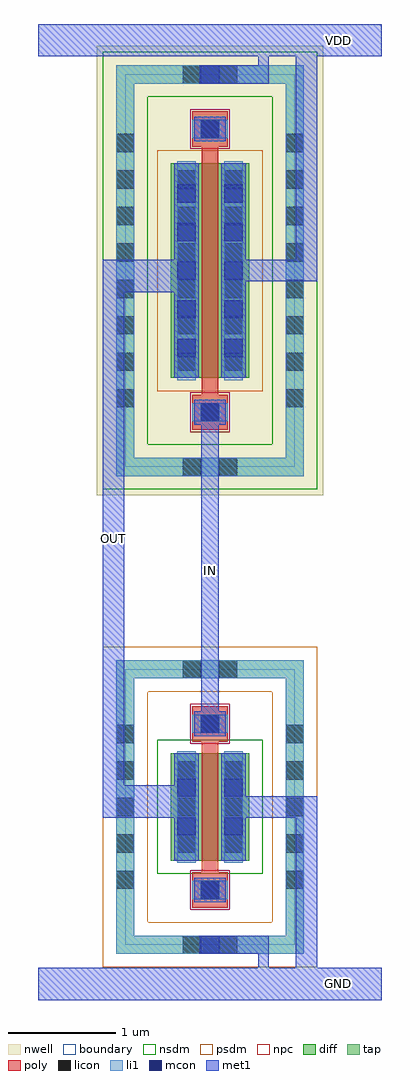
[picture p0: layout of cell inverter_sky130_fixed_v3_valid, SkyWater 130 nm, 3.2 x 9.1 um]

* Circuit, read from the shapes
.subckt inverter_sky130_fixed_v3_valid GND IN OUT VDD
XM1 GND IN OUT GND sky130_fd_pr__nfet_01v8 w=1 l=0.15
XM2 VDD IN OUT VDD sky130_fd_pr__pfet_01v8 w=2 l=0.15
.ends

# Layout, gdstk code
import gdstk
lib = gdstk.Library(unit=1e-6, precision=1e-09)
def R(c, l, rs):  # rectangles x0, y0, x1, y1
    for r in rs: c.add(gdstk.rectangle(r[:2], r[2:], *l))
def A(c, l, x, y, w, h, nx, ny, dx, dy):  # array of equal rectangles
    R(c, l, [(x+i*dx, y+j*dy, x+i*dx+w, y+j*dy+h) for i in range(nx) for j in range(ny)])
nwell = (64, 20)
diff = (65, 20)
tap = (65, 44)
poly = (66, 20)
licon = (66, 44)
li1 = (67, 20)
mcon = (67, 44)
met1 = (68, 20)
nsdm = (93, 44)
psdm = (94, 20)
npc = (95, 20)
boundary = (235, 4)

sky130_fd_pr__pfet_01v8_ = lib.new_cell('sky130_fd_pr__pfet_01v8_VJT448')
R(sky130_fd_pr__pfet_01v8_, nwell, [(-1.055,-2.095,1.055,2.095)])
R(sky130_fd_pr__pfet_01v8_, diff, [(-0.365,-1,0.365,1)])
R(sky130_fd_pr__pfet_01v8_, tap, [(-0.875,-1.915,0.875,-1.745), (-0.875,-1.745,-0.705,1.745), (0.705,-1.745,0.875,1.745), (-0.875,1.745,0.875,1.915)])
R(sky130_fd_pr__pfet_01v8_, poly, [(-0.165,-1.485,0.165,-1.155), (-0.075,-1.155,0.075,1.155), (-0.165,1.155,0.165,1.485)])
A(sky130_fd_pr__pfet_01v8_, licon, -0.875, -1.275, 0.17, 0.17, 1, 8, 0, 0.34)
A(sky130_fd_pr__pfet_01v8_, licon, 0.705, -1.275, 0.17, 0.17, 1, 8, 0, 0.34)
A(sky130_fd_pr__pfet_01v8_, licon, -0.305, -0.935, 0.17, 0.17, 1, 6, 0, 0.34)
A(sky130_fd_pr__pfet_01v8_, licon, 0.135, -0.935, 0.17, 0.17, 1, 6, 0, 0.34)
R(sky130_fd_pr__pfet_01v8_, licon, [(-0.255,-1.915,-0.085,-1.745), (0.085,-1.915,0.255,-1.745), (-0.085,-1.405,0.085,-1.235), (-0.085,1.235,0.085,1.405), (-0.255,1.745,-0.085,1.915), (0.085,1.745,0.255,1.915)])
R(sky130_fd_pr__pfet_01v8_, li1, [(-0.875,-1.915,0.875,-1.745), (-0.875,-1.745,-0.705,1.745), (0.705,-1.745,0.875,1.745), (-0.165,-1.405,0.165,-1.235), (-0.305,-1.02,-0.135,1.02), (0.135,-1.02,0.305,1.02), (-0.165,1.235,0.165,1.405), (-0.875,1.745,0.875,1.915)])
A(sky130_fd_pr__pfet_01v8_, mcon, -0.305, -0.805, 0.17, 0.17, 1, 5, 0, 0.36)
A(sky130_fd_pr__pfet_01v8_, mcon, 0.135, -0.805, 0.17, 0.17, 1, 5, 0, 0.36)
R(sky130_fd_pr__pfet_01v8_, mcon, [(-0.085,-1.405,0.085,-1.235), (-0.085,1.235,0.085,1.405)])
R(sky130_fd_pr__pfet_01v8_, met1, [(-0.145,-1.435,0.145,-1.205), (-0.335,-1,-0.105,1), (0.105,-1,0.335,1), (-0.145,1.205,0.145,1.435)])
R(sky130_fd_pr__pfet_01v8_, nsdm, [(-1,-2.04,1,-1.62), (-1,-1.62,-0.58,1.62), (0.58,-1.62,1,1.62), (-1,1.62,1,2.04)])
R(sky130_fd_pr__pfet_01v8_, psdm, [(-0.49,-1.125,0.49,1.125)])
R(sky130_fd_pr__pfet_01v8_, npc, [(-0.185,-1.505,0.185,-1.135), (-0.185,1.135,0.185,1.505)])
R(sky130_fd_pr__pfet_01v8_, boundary, [(-0.79,-1.83,0.79,1.83)])
sky130_fd_pr__pfet_01v8_.add(gdstk.Label('B', (0,-1.83), layer=67, texttype=5))
sky130_fd_pr__pfet_01v8_.add(gdstk.Label('D', (-0.22,0), layer=67, texttype=5))
sky130_fd_pr__pfet_01v8_.add(gdstk.Label('S', (0.22,0), layer=67, texttype=5))
sky130_fd_pr__pfet_01v8_.add(gdstk.Label('G', (0,1.32), layer=67, texttype=5))

sky130_fd_pr__nfet_01v8_ = lib.new_cell('sky130_fd_pr__nfet_01v8_34VMYE')
R(sky130_fd_pr__nfet_01v8_, diff, [(-0.365,-0.5,0.365,0.5)])
R(sky130_fd_pr__nfet_01v8_, tap, [(-0.875,-1.37,0.875,-1.2), (-0.875,-1.2,-0.705,1.2), (0.705,-1.2,0.875,1.2), (-0.875,1.2,0.875,1.37)])
R(sky130_fd_pr__nfet_01v8_, poly, [(-0.165,-0.94,0.165,-0.61), (-0.075,-0.61,0.075,0.61), (-0.165,0.61,0.165,0.94)])
A(sky130_fd_pr__nfet_01v8_, licon, -0.875, -0.765, 0.17, 0.17, 1, 5, 0, 0.34)
A(sky130_fd_pr__nfet_01v8_, licon, 0.705, -0.765, 0.17, 0.17, 1, 5, 0, 0.34)
A(sky130_fd_pr__nfet_01v8_, licon, -0.305, -0.425, 0.17, 0.17, 1, 3, 0, 0.34)
A(sky130_fd_pr__nfet_01v8_, licon, 0.135, -0.425, 0.17, 0.17, 1, 3, 0, 0.34)
R(sky130_fd_pr__nfet_01v8_, licon, [(-0.255,-1.37,-0.085,-1.2), (0.085,-1.37,0.255,-1.2), (-0.085,-0.86,0.085,-0.69), (-0.085,0.69,0.085,0.86), (-0.255,1.2,-0.085,1.37), (0.085,1.2,0.255,1.37)])
R(sky130_fd_pr__nfet_01v8_, li1, [(-0.875,-1.37,0.875,-1.2), (-0.875,-1.2,-0.705,1.2), (0.705,-1.2,0.875,1.2), (-0.165,-0.86,0.165,-0.69), (-0.305,-0.52,-0.135,0.52), (0.135,-0.52,0.305,0.52), (-0.165,0.69,0.165,0.86), (-0.875,1.2,0.875,1.37)])
R(sky130_fd_pr__nfet_01v8_, mcon, [(-0.085,-0.86,0.085,-0.69), (-0.305,-0.265,-0.135,-0.095), (0.135,-0.265,0.305,-0.095), (-0.305,0.095,-0.135,0.265), (0.135,0.095,0.305,0.265), (-0.085,0.69,0.085,0.86)])
R(sky130_fd_pr__nfet_01v8_, met1, [(-0.145,-0.89,0.145,-0.66), (-0.335,-0.5,-0.105,0.5), (0.105,-0.5,0.335,0.5), (-0.145,0.66,0.145,0.89)])
R(sky130_fd_pr__nfet_01v8_, nsdm, [(-0.49,-0.625,0.49,0.625)])
R(sky130_fd_pr__nfet_01v8_, psdm, [(-1,-1.495,1,-1.075), (-1,-1.075,-0.58,1.075), (0.58,-1.075,1,1.075), (-1,1.075,1,1.495)])
R(sky130_fd_pr__nfet_01v8_, npc, [(-0.185,-0.96,0.185,-0.59), (-0.185,0.59,0.185,0.96)])
R(sky130_fd_pr__nfet_01v8_, boundary, [(-0.79,-1.285,0.79,1.285)])
sky130_fd_pr__nfet_01v8_.add(gdstk.Label('B', (0,-1.285), layer=67, texttype=5))
sky130_fd_pr__nfet_01v8_.add(gdstk.Label('D', (-0.22,0), layer=67, texttype=5))
sky130_fd_pr__nfet_01v8_.add(gdstk.Label('S', (0.22,0), layer=67, texttype=5))
sky130_fd_pr__nfet_01v8_.add(gdstk.Label('G', (0,0.775), layer=67, texttype=5))

inverter_sky130_fixed_v3 = lib.new_cell('inverter_sky130_fixed_v3_valid')
R(inverter_sky130_fixed_v3, li1, [(-0.085,-3.87,0.085,-3.7), (-0.085,4.245,0.085,4.415)])
R(inverter_sky130_fixed_v3, mcon, [(-0.085,-3.87,0.085,-3.7), (-0.085,4.245,0.085,4.415)])
R(inverter_sky130_fixed_v3, met1, [(-1.6,-4.3,1.6,-4), (0.45,-4,0.55,-3.87), (0.8,-4,1,-2.6), (-0.1,-3.87,0.55,-3.7), (-1,-2.6,-0.2,-2.3), (0.2,-2.6,1,-2.4), (-1,-2.3,-0.8,2.3), (-0.08,-1.75,0.08,1.2), (-1,2.3,-0.2,2.6), (0.2,2.4,1,2.6), (0.8,2.6,1,4.5), (-0.1,4.245,0.55,4.415), (0.45,4.415,0.55,4.5), (-1.6,4.5,1.6,4.8)])
inverter_sky130_fixed_v3.add(gdstk.Reference(sky130_fd_pr__pfet_01v8_, (0,2.5), x_reflection=True))
inverter_sky130_fixed_v3.add(gdstk.Reference(sky130_fd_pr__nfet_01v8_, (0,-2.5)))
inverter_sky130_fixed_v3.add(gdstk.Label('VDD', (1.2,4.65), layer=68, texttype=5))
inverter_sky130_fixed_v3.add(gdstk.Label('GND', (1.2,-4.15), layer=68, texttype=5))
inverter_sky130_fixed_v3.add(gdstk.Label('OUT', (-0.9,0), layer=68, texttype=5))
inverter_sky130_fixed_v3.add(gdstk.Label('IN', (0,-0.3), layer=68, texttype=5))

lib.write_gds('inverter_sky130_fixed_v3_valid.gds')
